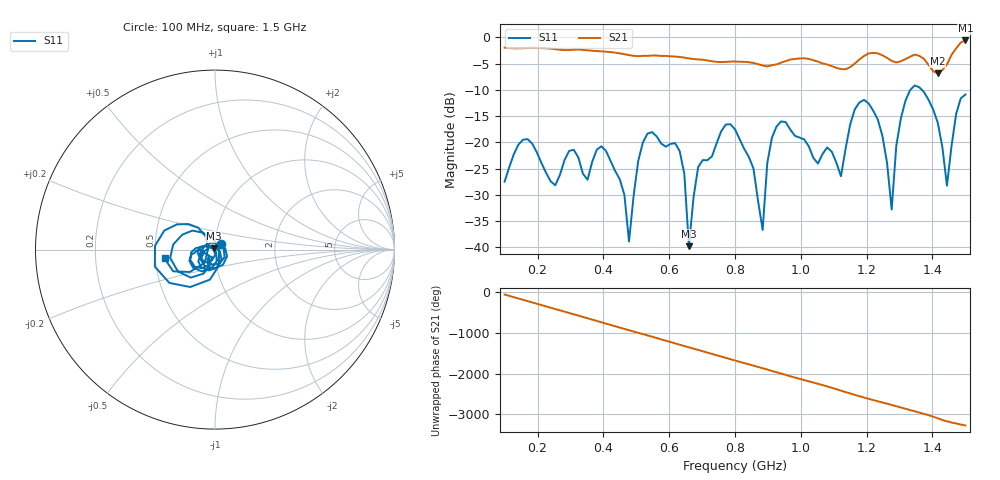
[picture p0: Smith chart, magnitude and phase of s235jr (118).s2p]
! NanoVNA-App
! Date: 2025-09-25 15:05:05
! Start: 100MHz Stop: 1,5GHz Points: 101
! S-Parameter data: F S11 S21 S12 S22
# Hz S RI R 50
!  Frequency  S11_Real  S11_Imag  S21_Real  S21_Imag  S12_Real  S12_Imag  S22_Real  S22_Imag
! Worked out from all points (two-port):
!   101 points, 100 MHz to 1.5 GHz, reference 50 ohm
!   highest |S21| = -0.59 dB at 1.5 GHz (marker M1); lowest = -6.9 dB at 1.416 GHz (marker M2)
!   |S21| within 3 dB of the highest: start of sweep to 600.4 MHz; 1.191 GHz to 1.253 GHz (61.69 MHz wide, 5.05 % of centre) (the widest 2 of 4)
!   lowest |S11| = -39.8 dB at 660 MHz (marker M3), VSWR 1.02, Z = 49.2 + j0.654 ohm
!   |S11| at or under -10 dB: start of sweep to 1.333 GHz; 1.368 GHz to end of sweep
!   S12 and S22 are empty: the file has one direction only
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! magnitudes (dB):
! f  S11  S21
! 100 MHz  -27.5  -2.0
! 170 MHz  -19.4  -2.0
! 338 MHz  -26.0  -2.4
! 408 MHz  -21.6  -2.7
! 478 MHz  -38.9  -3.4
! 520 MHz  -20.0  -3.5
! 576 MHz  -20.2  -3.5
! 632 MHz  -21.7  -3.7
! 660 MHz  -39.8  -4.0
! 688 MHz  -24.7  -4.2
! 800 MHz  -17.5  -4.6
! 884 MHz  -36.7  -5.4
! 926 MHz  -17.0  -5.1
! 1.038 GHz  -23.0  -4.4
! 1.122 GHz  -26.4  -6.0
! 1.192 GHz  -11.9  -3.5
! 1.248 GHz  -18.8  -3.4
! 1.276 GHz  -32.8  -4.5
! 1.332 GHz  -10.0  -3.7
! 1.416 GHz  -16.2  -6.9
! 1.444 GHz  -28.2  -5.2
! 1.5 GHz  -10.9  -0.6
